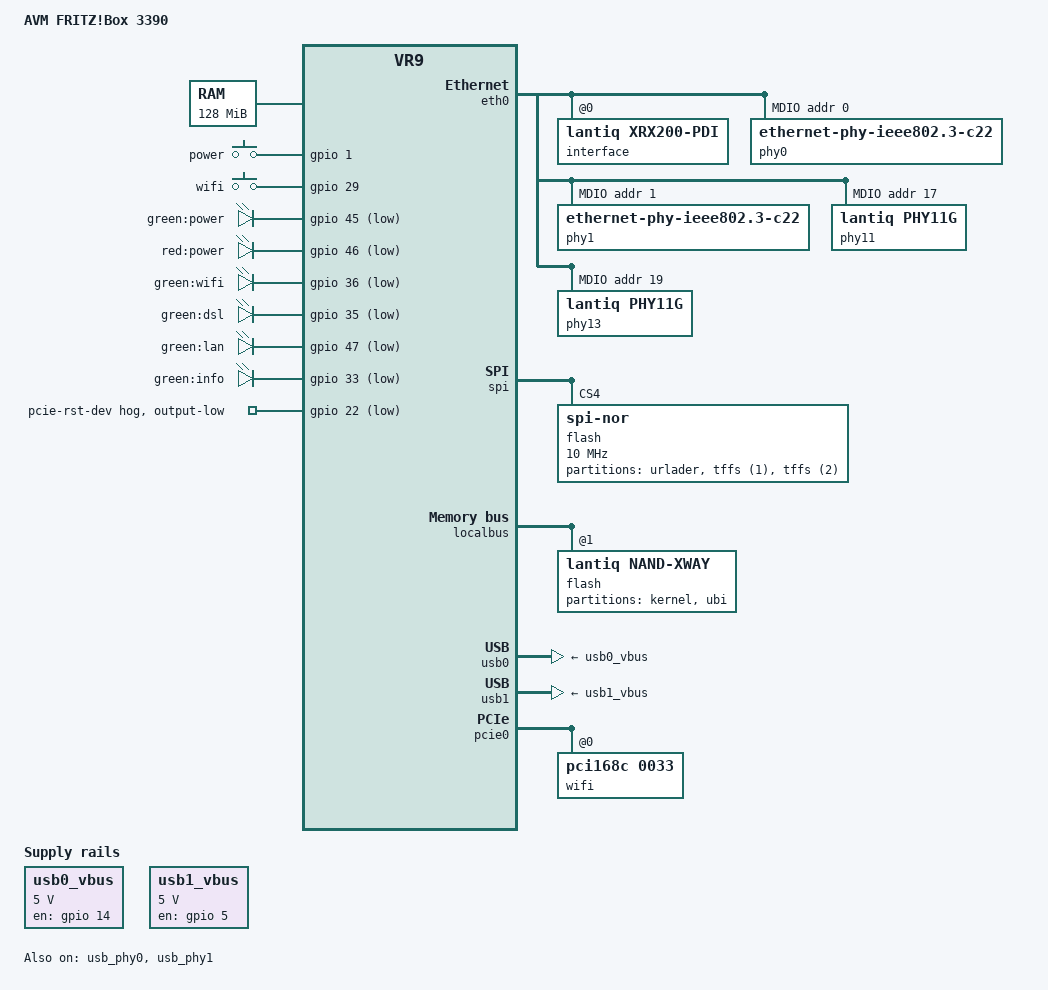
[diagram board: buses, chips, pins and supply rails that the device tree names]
// SPDX-License-Identifier: GPL-2.0-or-later OR MIT

#include "vr9.dtsi"

#include <dt-bindings/input/input.h>
#include <dt-bindings/mips/lantiq_rcu_gphy.h>

/ {
	compatible = "avm,fritz3390", "lantiq,xway", "lantiq,vr9";
	model = "AVM FRITZ!Box 3390";

	chosen {
		bootargs = "console=ttyLTQ0,115200";
	};

	aliases {
		led-boot = &led_power_green;
		led-failsafe = &led_power_red;
		led-running = &led_power_green;
		led-upgrade = &led_power_red;

		led-dsl = &led_dsl;
		led-internet = &led_info;
		led-wifi = &led_wifi;
	};

	memory@0 {
		device_type = "memory";
		reg = <0x0 0x8000000>;
	};

	keys {
		compatible = "gpio-keys-polled";
		poll-interval = <100>;

		power {
			label = "power";
			gpios = <&gpio 1 GPIO_ACTIVE_HIGH>;
			linux,code = <KEY_POWER>;
		};

		wifi {
			label = "wifi";
			gpios = <&gpio 29 GPIO_ACTIVE_HIGH>;
			linux,code = <KEY_RFKILL>;
		};
	};

	leds {
		compatible = "gpio-leds";

		led_power_green: power_green {
			label = "green:power";
			gpios = <&gpio 45 GPIO_ACTIVE_LOW>;
			default-state = "keep";
		};

		led_power_red: power_red {
			label = "red:power";
			gpios = <&gpio 46 GPIO_ACTIVE_LOW>;
		};

		led_wifi: wifi {
			label = "green:wifi";
			gpios = <&gpio 36 GPIO_ACTIVE_LOW>;
		};

		led_dsl: dsl {
			label = "green:dsl";
			gpios = <&gpio 35 GPIO_ACTIVE_LOW>;
		};

		led_lan {
			label = "green:lan";
			gpios = <&gpio 47 GPIO_ACTIVE_LOW>;
		};

		led_info: info {
			label = "green:info";
			gpios = <&gpio 33 GPIO_ACTIVE_LOW>;
		};
	};

	usb0_vbus: regulator-usb0-vbus {
		compatible = "regulator-fixed";

		regulator-name = "USB0_VBUS";

		regulator-min-microvolt = <5000000>;
		regulator-max-microvolt = <5000000>;

		gpio = <&gpio 14 GPIO_ACTIVE_HIGH>;
		enable-active-high;
	};

	usb1_vbus: regulator-usb1-vbus {
		compatible = "regulator-fixed";

		regulator-name = "USB1_VBUS";

		regulator-min-microvolt = <5000000>;
		regulator-max-microvolt = <5000000>;

		gpio = <&gpio 5 GPIO_ACTIVE_HIGH>;
		enable-active-high;
	};
};

&eth0 {
	interface@0 {
		compatible = "lantiq,xrx200-pdi";
		#address-cells = <1>;
		#size-cells = <0>;
		reg = <0>;
		lantiq,switch;

		ethernet@0 {
			compatible = "lantiq,xrx200-pdi-port";
			reg = <0>;
			phy-mode = "rgmii";
			phy-handle = <&phy0>;
			gpios = <&gpio 32 GPIO_ACTIVE_HIGH>;
		};

		ethernet@1 {
			compatible = "lantiq,xrx200-pdi-port";
			reg = <1>;
			phy-mode = "rgmii";
			phy-handle = <&phy1>;
			gpios = <&gpio 44 GPIO_ACTIVE_HIGH>;
		};

		ethernet@2 {
			compatible = "lantiq,xrx200-pdi-port";
			reg = <2>;
			phy-mode = "gmii";
			phy-handle = <&phy11>;
		};

		ethernet@4 {
			compatible = "lantiq,xrx200-pdi-port";
			reg = <4>;
			phy-mode = "gmii";
			phy-handle = <&phy13>;
		};
	};

	mdio {
		#address-cells = <1>;
		#size-cells = <0>;
		compatible = "lantiq,xrx200-mdio";

		phy0: ethernet-phy@0 {
			reg = <0x0>;
			compatible = "ethernet-phy-ieee802.3-c22";
		};

		phy1: ethernet-phy@1 {
			reg = <0x1>;
			compatible = "ethernet-phy-ieee802.3-c22";
		};

		phy11: ethernet-phy@11 {
			reg = <0x11>;
			compatible = "lantiq,phy11g", "ethernet-phy-ieee802.3-c22";
		};

		phy13: ethernet-phy@13 {
			reg = <0x13>;
			compatible = "lantiq,phy11g", "ethernet-phy-ieee802.3-c22";
		};
	};
};

&gphy0 {
	lantiq,gphy-mode = <GPHY_MODE_GE>;
};

&gphy1 {
	lantiq,gphy-mode = <GPHY_MODE_GE>;
};

&gpio {
	pinctrl-names = "default";
	pinctrl-0 = <&state_default>;

	state_default: pinmux {
		phy-rst {
			lantiq,pins = "io32", "io44";
			lantiq,pull = <0>;
			lantiq,open-drain;
			lantiq,output = <1>;
		};

		pcie-rst {
			lantiq,pins = "io21";
			lantiq,open-drain;
			lantiq,output = <1>;
		};
	};

	pcie-rst-dev {
		gpio-hog;
		line-name = "pcie-rst-dev";
		gpios = <22 GPIO_ACTIVE_LOW>;
		output-low;
	};
};

&spi {
	status = "okay";

	flash@4 {
		compatible = "jedec,spi-nor";
		reg = <4>;
		spi-max-frequency = <10000000>;

		partitions {
			compatible = "fixed-partitions";
			#address-cells = <1>;
			#size-cells = <1>;

			partition@0 {
				reg = <0x0 0x20000>;
				label = "urlader";
				read-only;
			};

			partition@20000 {
				reg = <0x20000 0x10000>;
				label = "tffs (1)";
				read-only;
			};

			partition@30000 {
				reg = <0x30000 0x10000>;
				label = "tffs (2)";
				read-only;
			};
		};
	};
};

&localbus {
	flash@1 {
		compatible = "lantiq,nand-xway";
		bank-width = <1>;
		reg = <1 0x0 0x2000000>;

		pinctrl-0 = <&nand_pins>;
		pinctrl-names = "default";

		nand-ecc-mode = "on-die";

		partitions {
			compatible = "fixed-partitions";
			#address-cells = <1>;
			#size-cells = <1>;

			partition@0 {
				label = "kernel";
				reg = <0x0 0x400000>;
			};

			partition@400000 {
				label = "ubi";
				reg = <0x400000 0x7c00000>;
			};
		};
	};
};

&usb_phy0 {
	status = "okay";
};

&usb_phy1 {
	status = "okay";
};

&usb0 {
	status = "okay";
	vbus-supply = <&usb0_vbus>;
};

&usb1 {
	status = "okay";
	vbus-supply = <&usb1_vbus>;
};

&pcie0 {
	status = "okay";
	gpio-reset = <&gpio 21 GPIO_ACTIVE_LOW>;

	pcie@0 {
		reg = <0 0 0 0 0>;
		#interrupt-cells = <1>;
		#size-cells = <1>;
		#address-cells = <2>;
		device_type = "pci";

		wifi@0,0 {
			compatible = "pci168c,0033";
			reg = <0 0 0 0 0>;
			qca,no-eeprom; /* load from ath9k-eeprom-pci-0000:01:00.0.bin */
		};
	};
};
